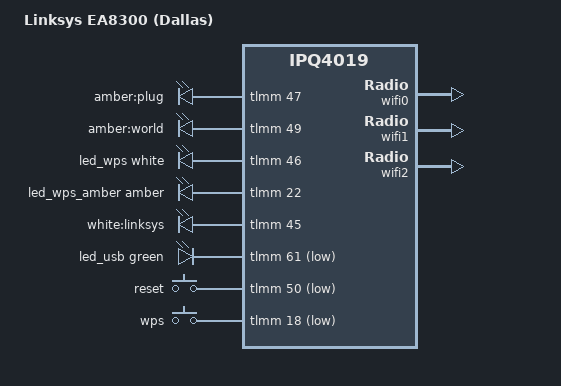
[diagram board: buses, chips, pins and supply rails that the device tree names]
// SPDX-License-Identifier: GPL-2.0-or-later OR MIT

#include <dt-bindings/leds/common.h>

#include "qcom-ipq4019-xx8300.dtsi"

/ {
	model = "Linksys EA8300 (Dallas)";
	compatible = "linksys,ea8300", "qcom,ipq4019";


	aliases {
		led-boot = &led_wps_amber;
		led-failsafe = &led_wps;
		led-running = &led_linksys;
		led-upgrade = &led_world;
		serial0 = &blsp1_uart1;
	};


	leds {
		compatible = "gpio-leds";

		// Retain node names from running OEM on EA8300

		// Front panel LEDs, top to bottom

		led_plug: diag {
			label = "amber:plug";
			gpios = <&tlmm 47 GPIO_ACTIVE_HIGH>;
		};

		led_world: internet {
			label = "amber:world";
			gpios = <&tlmm 49 GPIO_ACTIVE_HIGH>;
		};

		led_wps: wps {
			function = LED_FUNCTION_WPS;
			color = <LED_COLOR_ID_WHITE>;
			gpios = <&tlmm 46 GPIO_ACTIVE_HIGH>;
		};

		led_wps_amber: wps_amber {
			function = LED_FUNCTION_WPS;
			color = <LED_COLOR_ID_AMBER>;
			gpios = <&tlmm 22 GPIO_ACTIVE_HIGH>;
			panic-indicator;
		};

		led_linksys: pwr {
			label = "white:linksys";
			gpios = <&tlmm 45 GPIO_ACTIVE_HIGH>;
		};

		// On back panel, above USB socket

		led_usb: usb {
			function = LED_FUNCTION_USB;
			color = <LED_COLOR_ID_GREEN>;
			gpios = <&tlmm 61 GPIO_ACTIVE_LOW>;
			trigger-sources = <&usb3_port1>, <&usb3_port2>,
					  <&usb2_port1>;
			linux,default-trigger = "usbport";
		};
	};

	keys {
		compatible = "gpio-keys";

		reset {
			label = "reset";
			linux,code = <KEY_RESTART>;
			gpios = <&tlmm 50 GPIO_ACTIVE_LOW>;
		};

		wps {
			label = "wps";
			linux,code = <KEY_WPS_BUTTON>;
			gpios = <&tlmm 18 GPIO_ACTIVE_LOW>;
		};
	};
};

&wifi0 {
	status = "okay";
	qcom,ath10k-calibration-variant = "linksys-ea8300-fcc";
};

&wifi1 {
	status = "okay";
	ieee80211-freq-limit = <5170000 5330000>;
	qcom,ath10k-calibration-variant = "linksys-ea8300-fcc";
};

&wifi2 {
	status = "okay";
	ieee80211-freq-limit = <5490000 5835000>;
	qcom,ath10k-calibration-variant = "linksys-ea8300-fcc";
};

/* QSDK 10: retain this board's physical LAN/WAN port assignment. */
#define QSDK_LAN_BMP 0x1e
#define QSDK_WAN_BMP 0x20
#define QSDK_WAN_PHY 4
#define QSDK_WAN_POLL 1
#include "qcom-ipq40xx-qsdk-10.dtsi"

&switch {
	qcom,port_phyinfo {
		port1 { port_id = <1>; phy_address = <0>; };
		port2 { port_id = <2>; phy_address = <1>; };
		port3 { port_id = <3>; phy_address = <2>; };
		port4 { port_id = <4>; phy_address = <3>; };
		port5 { port_id = <5>; phy_address = <4>; };
	};
};

&qsdk_gmac0 {
	qcom,mac-source = <&swport5>;
};
